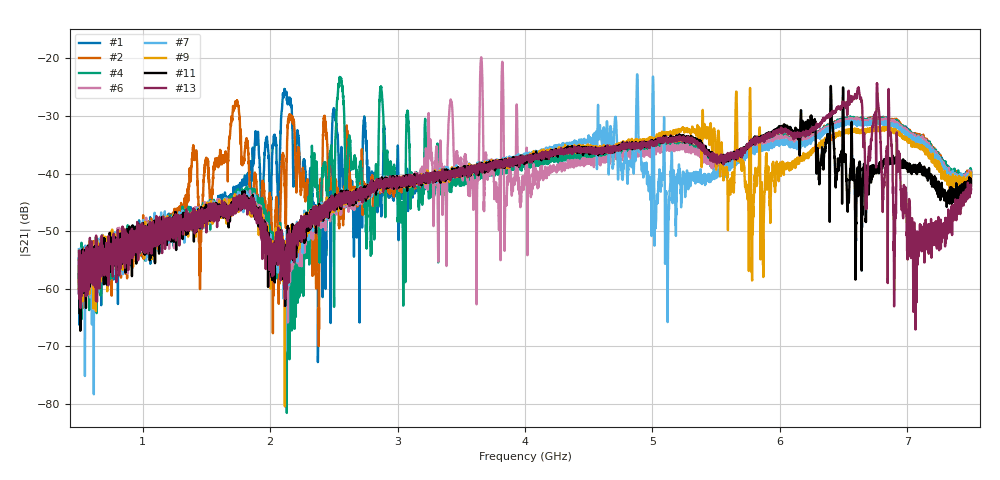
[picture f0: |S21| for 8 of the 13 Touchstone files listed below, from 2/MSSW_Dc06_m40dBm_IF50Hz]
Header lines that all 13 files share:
!Keysight Technologies,M9374A,MY55442783,A.12.55.05
!Correction: S11(Full 2 Port(1,2))
!S21(Full 2 Port(1,2))
!S12(Full 2 Port(1,2))
!S22(Full 2 Port(1,2))
!S2P File: Measurements: S11, S21, S12, S22:
# Hz S  RI  R 50
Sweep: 500 MHz to 7.5 GHz
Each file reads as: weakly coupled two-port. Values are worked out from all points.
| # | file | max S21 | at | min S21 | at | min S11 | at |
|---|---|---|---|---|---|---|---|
| 1 | MSSW_Dc06_i0.5.s2p | -25.29 dB | 2.112 GHz | -72.7 dB | 2.375 GHz | -16.3 dB | 2.145 GHz |
| 2 | MSSW_Dc06_i0.s2p | -27.27 dB | 1.741 GHz | -69.9 dB | 2.382 GHz | -10.7 dB | 1.728 GHz |
| 3 | MSSW_Dc06_i1.5.s2p | -18.93 dB | 3.255 GHz | -70.9 dB | 2.128 GHz | -18.1 dB | 3.268 GHz |
| 4 | MSSW_Dc06_i1.s2p | -23.21 dB | 2.546 GHz | -81.6 dB | 2.131 GHz | -17.8 dB | 2.878 GHz |
| 5 | MSSW_Dc06_i2.5.s2p | -20.58 dB | 4.066 GHz | -75.6 dB | 4.232 GHz | -17.4 dB | 4.233 GHz |
| 6 | MSSW_Dc06_i2.s2p | -19.80 dB | 3.656 GHz | -65.8 dB | 2.14 GHz | -16.5 dB | 3.671 GHz |
| 7 | MSSW_Dc06_i3.5.s2p | -22.75 dB | 4.88 GHz | -78.3 dB | 617 MHz | -25.2 dB | 5.022 GHz |
| 8 | MSSW_Dc06_i3.s2p | -21.53 dB | 4.476 GHz | -68.3 dB | 618 MHz | -19.6 dB | 4.63 GHz |
| 9 | MSSW_Dc06_i4.5.s2p | -25.13 dB | 5.766 GHz | -80.4 dB | 2.116 GHz | -46.6 dB | 5.785 GHz |
| 10 | MSSW_Dc06_i4.s2p | -24.00 dB | 5.274 GHz | -69.7 dB | 5.489 GHz | -29.6 dB | 5.407 GHz |
| 11 | MSSW_Dc06_i5.5.s2p | -24.78 dB | 6.399 GHz | -67.3 dB | 511 MHz | -25.3 dB | 6.515 GHz |
| 12 | MSSW_Dc06_i5.s2p | -25.09 dB | 6.031 GHz | -62.8 dB | 513 MHz | -31.0 dB | 6.152 GHz |
| 13 | MSSW_Dc06_i6.s2p | -24.34 dB | 6.761 GHz | -67.1 dB | 7.064 GHz | -23.4 dB | 6.871 GHz |
